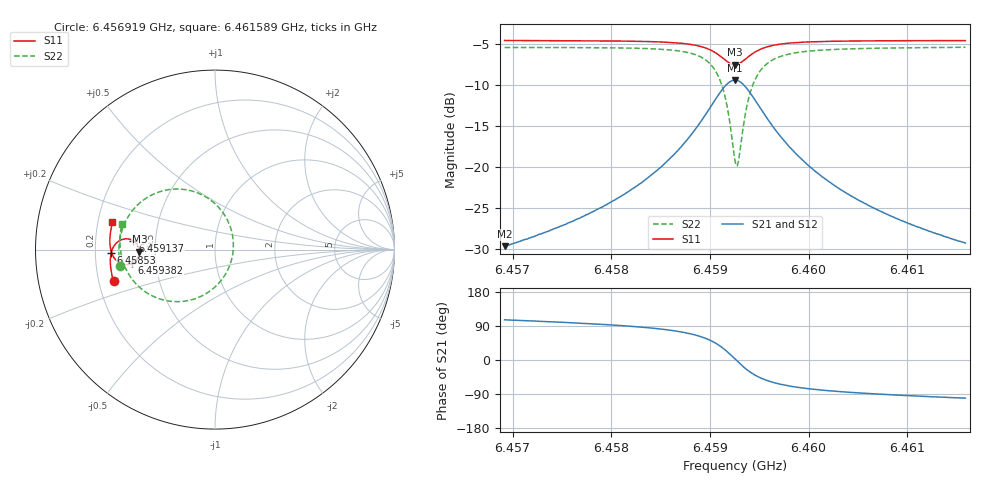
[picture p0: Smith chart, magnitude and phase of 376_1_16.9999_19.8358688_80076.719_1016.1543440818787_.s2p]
#  HZ  S  RI  R  50.00
! Rohde & Schwarz Vector Network Analyzer
! Rohde-Schwarz,ZNB20-2Port,1311601062101988,3.16
! Created: UTC 3/20/2024, 11:08:56 PM
! freq[Hz]  re:S11  im:S11  re:S21  im:S21  re:S12  im:S12  re:S22  im:S22
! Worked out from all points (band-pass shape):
!   401 points, 6.456919 GHz to 6.461589 GHz, reference 50 ohm
!   highest |S21| = -9.38 dB at 6.459254 GHz (marker M1); lowest = -29.6 dB at 6.456919 GHz (marker M2)
!   |S21| within 3 dB of the highest: 6.459021 GHz to 6.459487 GHz (466.8 kHz wide, 0.00723 % of centre)
!   lowest |S11| = -7.5 dB at 6.459254 GHz (marker M3), VSWR 2.45, Z = 20.4 - j0.572 ohm
!   |S11| at or under -10 dB: nowhere
!   |S22| runs from -19.8 to -5.4 dB; largest |S21 - S12| = 0.013
!   S11 on the Smith chart (normalised r, x): 6.456919 GHz: 0.26, -0.14; 6.45853 GHz: 0.27, -0.01; 6.459137 GHz: 0.37, +0.05; 6.459382 GHz: 0.36, -0.07; 6.461589 GHz: 0.26, +0.12
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6.4569188e9  -0.5653 -0.1768  -0.00908 0.0318  -0.00737 0.0317  -0.5292 -0.0896
6.4577011e9  -0.58 -0.1088  -0.00593 0.0494  -0.00349 0.0488  -0.5356 0.000358
6.4581447e9  -0.5832 -0.0646  3.21e-05 0.0693  0.00328 0.068  -0.5279 0.0697
6.4584833e9  -0.5797 -0.0243  0.0133 0.0972  0.0173 0.0944  -0.5039 0.1451
6.45853e9  -0.5784 -0.0181  0.0166 0.1025  0.0205 0.0996  -0.4978 0.158
6.4587402e9  -0.5666 0.0137  0.042 0.1337  0.0462 0.1291  -0.4502 0.2292
6.458892e9  -0.5457 0.04  0.0839 0.1639  0.0874 0.1574  -0.3732 0.2932
6.4590437e9  -0.5001 0.0599  0.1742 0.1829  0.1753 0.1756  -0.2083 0.3375
6.4591371e9  -0.4562 0.0501  0.263 0.1528  0.2632 0.1468  -0.0443 0.2895
6.4591838e9  -0.4354 0.0317  0.3061 0.1107  0.3073 0.1055  0.0374 0.215
6.4592539e9  -0.4207 -0.0115  0.3393 0.0156  0.3428 0.00874  0.1023 0.0389
6.4592656e9  -0.421 -0.0194  0.3391 -0.00194  0.3428 -0.00936  0.1022 0.00594
6.4592889e9  -0.4245 -0.0348  0.3339 -0.036  0.3374 -0.0449  0.0917 -0.0585
6.4593356e9  -0.4398 -0.0604  0.3061 -0.0951  0.3081 -0.1067  0.0359 -0.1699
6.4593823e9  -0.4615 -0.0764  0.2649 -0.1356  0.2642 -0.1484  -0.047 -0.2438
6.4594757e9  -0.5042 -0.083  0.1817 -0.1665  0.1757 -0.1778  -0.2123 -0.29
6.4596275e9  -0.5474 -0.0627  0.0954 -0.1536  0.087 -0.1595  -0.3771 -0.2424
6.459791e9  -0.5686 -0.0351  0.051 -0.1263  0.0436 -0.129  -0.4565 -0.1721
6.4600361e9  -0.581 0.000602  0.0223 -0.0955  0.0166 -0.096  -0.5041 -0.0909
6.4603981e9  -0.5856 0.0429  0.00608 -0.0684  0.00208 -0.0681  -0.5259 -0.0106
6.4608184e9  -0.5836 0.0848  -0.00144 -0.051  -0.00408 -0.0501  -0.5297 0.0553
6.461589e9  -0.5711 0.1527  -0.00637 -0.034  -0.00807 -0.0331  -0.5184 0.1449
